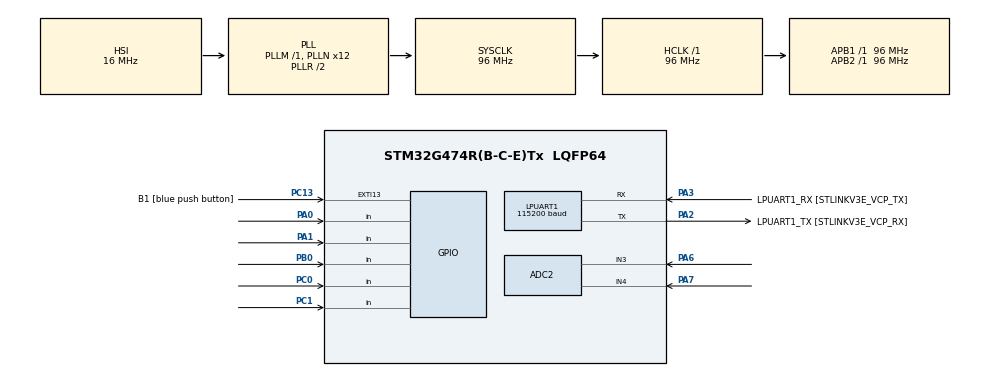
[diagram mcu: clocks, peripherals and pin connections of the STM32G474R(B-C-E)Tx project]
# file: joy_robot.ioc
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ADC2.Channel-3\#ChannelRegularConversion=ADC_CHANNEL_3
ADC2.Channel-4\#ChannelRegularConversion=ADC_CHANNEL_4
ADC2.ContinuousConvMode=ENABLE
ADC2.DMAContinuousRequests=ENABLE
ADC2.NbrOfConversion=2
ADC2.NbrOfConversionFlag=1
ADC2.OffsetNumber-3\#ChannelRegularConversion=ADC_OFFSET_NONE
ADC2.OffsetNumber-4\#ChannelRegularConversion=ADC_OFFSET_NONE
ADC2.Rank-3\#ChannelRegularConversion=1
ADC2.Rank-4\#ChannelRegularConversion=2
ADC2.SamplingTime-3\#ChannelRegularConversion=ADC_SAMPLETIME_2CYCLES_5
ADC2.SamplingTime-4\#ChannelRegularConversion=ADC_SAMPLETIME_2CYCLES_5
Dma.ADC2.2.Direction=DMA_PERIPH_TO_MEMORY
Dma.ADC2.2.EventEnable=DISABLE
Dma.ADC2.2.Instance=DMA1_Channel3
Dma.ADC2.2.MemDataAlignment=DMA_MDATAALIGN_HALFWORD
Dma.ADC2.2.MemInc=DMA_MINC_ENABLE
Dma.ADC2.2.Mode=DMA_CIRCULAR
Dma.ADC2.2.PeriphDataAlignment=DMA_PDATAALIGN_HALFWORD
Dma.ADC2.2.PeriphInc=DMA_PINC_DISABLE
Dma.ADC2.2.Polarity=HAL_DMAMUX_REQ_GEN_RISING
Dma.ADC2.2.Priority=DMA_PRIORITY_LOW
Dma.ADC2.2.RequestNumber=1
Dma.ADC2.2.SignalID=NONE
Dma.ADC2.2.SyncEnable=DISABLE
Dma.ADC2.2.SyncPolarity=HAL_DMAMUX_SYNC_NO_EVENT
Dma.ADC2.2.SyncRequestNumber=1
Dma.ADC2.2.SyncSignalID=NONE
Dma.LPUART1_RX.0.Direction=DMA_PERIPH_TO_MEMORY
Dma.LPUART1_RX.0.EventEnable=DISABLE
Dma.LPUART1_RX.0.Instance=DMA1_Channel1
Dma.LPUART1_RX.0.MemDataAlignment=DMA_MDATAALIGN_BYTE
Dma.LPUART1_RX.0.MemInc=DMA_MINC_ENABLE
Dma.LPUART1_RX.0.Mode=DMA_CIRCULAR
Dma.LPUART1_RX.0.PeriphDataAlignment=DMA_PDATAALIGN_BYTE
Dma.LPUART1_RX.0.PeriphInc=DMA_PINC_DISABLE
Dma.LPUART1_RX.0.Polarity=HAL_DMAMUX_REQ_GEN_RISING
Dma.LPUART1_RX.0.Priority=DMA_PRIORITY_VERY_HIGH
Dma.LPUART1_RX.0.RequestNumber=1
Dma.LPUART1_RX.0.SignalID=NONE
Dma.LPUART1_RX.0.SyncEnable=DISABLE
Dma.LPUART1_RX.0.SyncPolarity=HAL_DMAMUX_SYNC_NO_EVENT
Dma.LPUART1_RX.0.SyncRequestNumber=1
Dma.LPUART1_RX.0.SyncSignalID=NONE
Dma.LPUART1_TX.1.Direction=DMA_MEMORY_TO_PERIPH
Dma.LPUART1_TX.1.EventEnable=DISABLE
Dma.LPUART1_TX.1.Instance=DMA1_Channel2
Dma.LPUART1_TX.1.MemDataAlignment=DMA_MDATAALIGN_BYTE
Dma.LPUART1_TX.1.MemInc=DMA_MINC_ENABLE
Dma.LPUART1_TX.1.Mode=DMA_NORMAL
Dma.LPUART1_TX.1.PeriphDataAlignment=DMA_PDATAALIGN_BYTE
Dma.LPUART1_TX.1.PeriphInc=DMA_PINC_DISABLE
Dma.LPUART1_TX.1.Polarity=HAL_DMAMUX_REQ_GEN_RISING
Dma.LPUART1_TX.1.Priority=DMA_PRIORITY_VERY_HIGH
Dma.LPUART1_TX.1.RequestNumber=1
Dma.LPUART1_TX.1.SignalID=NONE
Dma.LPUART1_TX.1.SyncEnable=DISABLE
Dma.LPUART1_TX.1.SyncPolarity=HAL_DMAMUX_SYNC_NO_EVENT
Dma.LPUART1_TX.1.SyncRequestNumber=1
Dma.LPUART1_TX.1.SyncSignalID=NONE
Dma.Request0=LPUART1_RX
Dma.Request1=LPUART1_TX
Dma.Request2=ADC2
FREERTOS.Tasks01=defaultTask,24,3000,StartDefaultTask,As weak,NULL,Static,defaultTaskBuffer,defaultTaskControlBlock
FREERTOS.configENABLE_FPU=1
IWDG.Reload=2499
LPUART1.BaudRate=115200
Mcu.Family=STM32G4
Mcu.Name=STM32G474R(B-C-E)Tx
Mcu.Package=LQFP64
NVIC.DMA1_Channel1_IRQn=true\:5\:0\:false\:false\:true\:true\:false\:true\:true
NVIC.DMA1_Channel2_IRQn=true\:5\:0\:false\:false\:true\:true\:false\:true\:true
NVIC.DMA1_Channel3_IRQn=true\:5\:0\:false\:false\:true\:true\:false\:true\:true
NVIC.EXTI15_10_IRQn=true\:5\:0\:false\:false\:true\:true\:true\:true\:true
NVIC.LPUART1_IRQn=true\:5\:0\:false\:false\:true\:true\:true\:true\:true
NVIC.PriorityGroup=NVIC_PRIORITYGROUP_4
NVIC.TIM1_UP_TIM16_IRQn=true\:15\:0\:false\:false\:true\:false\:false\:true\:true
NVIC.TimeBase=TIM1_UP_TIM16_IRQn
NVIC.TimeBaseIP=TIM1
PA0.Signal=GPIO_Input
PA1.Signal=GPIO_Input
PA13.GPIO_Label=T_SWDIO
PA13.Signal=SYS_JTMS-SWDIO
PA14.GPIO_Label=T_SWCLK
PA14.Signal=SYS_JTCK-SWCLK
PA2.GPIO_Label=LPUART1_TX [STLINKV3E_VCP_RX]
PA2.Mode=Asynchronous
PA2.Signal=LPUART1_TX
PA3.GPIO_Label=LPUART1_RX [STLINKV3E_VCP_TX]
PA3.Mode=Asynchronous
PA3.Signal=LPUART1_RX
PA6.Mode=IN3-Single-Ended
PA6.Signal=ADC2_IN3
PA7.Mode=IN4-Single-Ended
PA7.Signal=ADC2_IN4
PB0.Signal=GPIO_Input
PB3.GPIO_Label=T_SWO
PB3.Signal=SYS_JTDO-SWO
PC0.Signal=GPIO_Input
PC1.Signal=GPIO_Input
PC13.GPIO_Label=B1 [blue push button]
PC13.Signal=GPXTI13
PC14-OSC32_IN.GPIO_Label=RCC_OSC32_IN
PC14-OSC32_IN.Signal=RCC_OSC32_IN
PC15-OSC32_OUT.GPIO_Label=RCC_OSC32_OUT
PC15-OSC32_OUT.Signal=RCC_OSC32_OUT
PF0-OSC_IN.GPIO_Label=RCC_OSC_IN
PF0-OSC_IN.Signal=RCC_OSC_IN
PF1-OSC_OUT.GPIO_Label=RCC_OSC_OUT
PF1-OSC_OUT.Signal=RCC_OSC_OUT
ProjectManager.HeapSize=0x200
ProjectManager.StackSize=0x400
ProjectManager.TargetToolchain=STM32CubeIDE
RCC.ADC12Freq_Value=96000000
RCC.ADC345Freq_Value=96000000
RCC.AHBFreq_Value=96000000
RCC.APB1Freq_Value=96000000
RCC.APB1TimFreq_Value=96000000
RCC.APB2Freq_Value=96000000
RCC.APB2TimFreq_Value=96000000
RCC.CortexFreq_Value=96000000
RCC.EXTERNAL_CLOCK_VALUE=12288000
RCC.HCLKFreq_Value=96000000
RCC.HSE_VALUE=24000000
RCC.HSI48_VALUE=48000000
RCC.HSI_VALUE=16000000
RCC.LSE_VALUE=32768
RCC.PLLN=12
RCC.PLLQ=RCC_PLLQ_DIV4
RCC.RTCClockSelection=RCC_RTCCLKSOURCE_LSE
RCC.SYSCLKFreq_VALUE=96000000
RCC.SYSCLKSource=RCC_SYSCLKSOURCE_PLLCLK
RCC.USBFreq_Value=48000000
RCC.VCOOutputFreq_Value=192000000
VP_FREERTOS_VS_CMSIS_V2.Mode=CMSIS_V2
VP_IWDG_VS_IWDG.Mode=IWDG_Activate
VP_RNG_VS_RNG.Mode=RNG_Activate
VP_SYS_VS_DBSignals.Mode=DisableDeadBatterySignals
VP_SYS_VS_tim1.Mode=TIM1
board=NUCLEO-G474RE

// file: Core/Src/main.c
/* USER CODE BEGIN Header */
/**
  ******************************************************************************
  * @file           : main.c
  * @brief          : Main program body
  ******************************************************************************
  * @attention
  *
  * Copyright (c) 2024 STMicroelectronics.
  * All rights reserved.
  *
  * This software is licensed under terms that can be found in the LICENSE file
  * in the root directory of this software component.
  * If no LICENSE file comes with this software, it is provided AS-IS.
  *
  ******************************************************************************
  */
/* USER CODE END Header */
#include "main.h"
#include "cmsis_os.h"
#include "adc.h"
#include "dma.h"
#include "iwdg.h"
#include "usart.h"
#include "rng.h"
#include "gpio.h"

/* USER CODE BEGIN Includes */
#include <rcl/rcl.h>
#include <rcl/error_handling.h>
#include <rclc/rclc.h>
#include <rcl/init_options.h>
#include <rclc/executor.h>
#include <uxr/client/transport.h>
#include <rmw_microxrcedds_c/config.h>
#include <rmw_microros/rmw_microros.h>
#include <std_msgs/msg/int32.h>
#include <std_srvs/srv/set_bool.h>
#include <geometry_msgs/msg/point.h>
#include <geometry_msgs/msg/twist.h>

/* USER CODE END Includes */

/* USER CODE BEGIN PV */
rclc_support_t support;
rcl_allocator_t allocator;
rcl_node_t node;
rcl_init_options_t init_options;
rcl_ret_t rc;
rcl_timer_t timer;
rclc_executor_t executor;
rcl_publisher_t robot1_publisher;
rcl_publisher_t robot2_publisher;
rcl_publisher_t robot3_publisher;
rcl_publisher_t robot4_publisher;
//rcl_subscription_t subscriber;

geometry_msgs__msg__Point cmd;
geometry_msgs__msg__Twist robot1_cmd_vel;
geometry_msgs__msg__Twist robot2_cmd_vel;
geometry_msgs__msg__Twist robot3_cmd_vel;
geometry_msgs__msg__Twist robot4_cmd_vel;

uint16_t ADC_RawRead[300];
int x = 0;
int y = 0;
int d8 = 0;
int a = 0;
int b = 0;
int c = 0;
int d = 0;
GPIO_PinState prev_button = GPIO_PIN_RESET;
int toggle_a = 0, toggle_b = 0, toggle_c = 0, toggle_d = 0, toggle_d8 = 0;

/* USER CODE END PV */

void SystemClock_Config(void);
void MX_FREERTOS_Init(void);
/* USER CODE BEGIN PFP */
bool cubemx_transport_open(struct uxrCustomTransport * transport);
bool cubemx_transport_close(struct uxrCustomTransport * transport);
size_t cubemx_transport_write(struct uxrCustomTransport* transport, const uint8_t * buf, size_t len, uint8_t * err);
size_t cubemx_transport_read(struct uxrCustomTransport* transport, uint8_t* buf, size_t len, int timeout, uint8_t* err);

void * microros_allocate(size_t size, void * state);
void microros_deallocate(void * pointer, void * state);
void * microros_reallocate(void * pointer, size_t size, void * state);
void * microros_zero_allocate(size_t number_of_elements, size_t size_of_element, void * state);
/* USER CODE END PFP */

/* USER CODE BEGIN 0 */
void timer_callback(rcl_timer_t * timer, int64_t last_call_time)
{
	if (timer != NULL)
	{
        int a_pressed = (HAL_GPIO_ReadPin(GPIOA, GPIO_PIN_1) == GPIO_PIN_RESET);
        int b_pressed = (HAL_GPIO_ReadPin(GPIOB, GPIO_PIN_0) == GPIO_PIN_RESET);
        int c_pressed = (HAL_GPIO_ReadPin(GPIOC, GPIO_PIN_1) == GPIO_PIN_RESET);
        int d_pressed = (HAL_GPIO_ReadPin(GPIOC, GPIO_PIN_0) == GPIO_PIN_RESET);

        // Toggle logic - only one button can be active at a time
        if (a_pressed && !toggle_a) {
            toggle_a = 1; toggle_b = toggle_c = toggle_d = toggle_d8 = 0;
        } else if (b_pressed && !toggle_b) {
            toggle_b = 1; toggle_a = toggle_c = toggle_d = toggle_d8 = 0;
        } else if (c_pressed && !toggle_c) {
            toggle_c = 1; toggle_a = toggle_b = toggle_d = toggle_d8 = 0;
        } else if (d_pressed && !toggle_d) {
            toggle_d = 1; toggle_a = toggle_b = toggle_c = toggle_d8 = 0;
        }

        // Set the velocity based on the active toggle
        geometry_msgs__msg__Twist* robots[4] = {&robot1_cmd_vel, &robot2_cmd_vel, &robot3_cmd_vel, &robot4_cmd_vel};

        for (int i = 0; i < 4; ++i) {
            robots[i]->linear.x = 0;
            robots[i]->angular.z = 0;
        }

        if (toggle_a) {
            robot1_cmd_vel.linear.x = cmd.y;
            robot1_cmd_vel.angular.z = cmd.x;
        } else if (toggle_b) {
            robot2_cmd_vel.linear.x = cmd.y;
            robot2_cmd_vel.angular.z = cmd.x;
        } else if (toggle_c) {
            robot3_cmd_vel.linear.x = cmd.y;
            robot3_cmd_vel.angular.z = cmd.x;
        } else if (toggle_d) {
            robot4_cmd_vel.linear.x = cmd.y;
            robot4_cmd_vel.angular.z = cmd.x;
        }
		if (d8 == 1)
		{

		}

		if (x < 1023.75){x = 0.0;}
		else if (x > 3071.25){x = 4095;}
		else {x = 2047.5;}

		if (y < 1023.75){y = 0.0;}
		else if (y > 3071.25){y = 4095;}
		else {y = 2047.5;}

		cmd.x = ((x / 2047.5) - 1.0)* -1.0;
		cmd.y = (y / 2047.5) - 1.0;

		rc = rcl_publish(&robot1_publisher, &robot1_cmd_vel, NULL);
		rc = rcl_publish(&robot2_publisher, &robot2_cmd_vel, NULL);
		rc = rcl_publish(&robot3_publisher, &robot3_cmd_vel, NULL);
		rc = rcl_publish(&robot4_publisher, &robot4_cmd_vel, NULL);
		HAL_IWDG_Refresh(&hiwdg);
		x = ADC_RawRead[0];
		y = ADC_RawRead[1];
	}
}

//void subscription_callback(const void *msgin)
//{
//	const std_msgs__msg__Int32 *sub_msg = (const std_msgs__msg__Int32*) msgin;
//	step = sub_msg->data;
//}

void save_path_client_callback(const void * save_path_resp){
    std_srvs__srv__SetBool_Response * resp = (std_srvs__srv__SetBool_Response *)save_path_resp;

    if (resp->success) {
        printf("SavePath success: %s\n", resp->message.data);
    } else {
        printf("SavePath failed: %s\n", resp->message.data);
    }
}
void ref_client_callback(const void * ref_resp){
	std_srvs__srv__SetBool_Response * resp = (std_srvs__srv__SetBool_Response *)ref_resp;

    if (resp->success) {
        printf("Change Mode success: %s\n", resp->message.data);
    } else {
        printf("Change Mode failed: %s\n", resp->message.data);
    }
}
void mode_client_callback(const void * mode_resp){
	std_srvs__srv__SetBool_Response * resp = (std_srvs__srv__SetBool_Response *)mode_resp;

    if (resp->success) {
        printf("Mode success: %s\n", resp->message.data);
    } else {
        printf("Mode failed: %s\n", resp->message.data);
    }
}

void StartDefaultTask(void *argument)
{
  /* USER CODE BEGIN 5 */

  // micro-ROS configuration

	rmw_uros_set_custom_transport(
			true,
			(void *) &hlpuart1,
			cubemx_transport_open,
			cubemx_transport_close,
			cubemx_transport_write,
			cubemx_transport_read);

	rcl_allocator_t freeRTOS_allocator = rcutils_get_zero_initialized_allocator();
	freeRTOS_allocator.allocate = microros_allocate;
	freeRTOS_allocator.deallocate = microros_deallocate;
	freeRTOS_allocator.reallocate = microros_reallocate;
	freeRTOS_allocator.zero_allocate =  microros_zero_allocate;

	if (!rcutils_set_default_allocator(&freeRTOS_allocator)) {
		printf("Error on default allocators (line %d)\n", __LINE__);
	}

	// micro-ROS app

	allocator = rcl_get_default_allocator();

	//create init_options
	init_options = rcl_get_zero_initialized_init_options();
	rc = rcl_init_options_init(&init_options, allocator);
	rc = rcl_init_options_set_domain_id(&init_options, 28);

	rclc_support_init_with_options(&support, 0, NULL, &init_options, &allocator);

	// create node
	rclc_node_init_default(&node, "joy", "", &support);

	// create timer
	rclc_timer_init_default(
			&timer,
			&support,
			RCL_MS_TO_NS(10),
			timer_callback
	);

	// create massage

	//	 create publisher
	rclc_publisher_init_default(
			&robot1_publisher,
			&node,
			ROSIDL_GET_MSG_TYPE_SUPPORT(geometry_msgs, msg, Twist) ,
			"/robot1/cmd_vel"
	);
	// publisher replace service problem
	rclc_publisher_init_default(
			&robot2_publisher,
			&node,
			ROSIDL_GET_MSG_TYPE_SUPPORT(geometry_msgs, msg, Twist) ,
			"/robot2/cmd_vel"
	);
	rclc_publisher_init_default(
			&robot3_publisher,
			&node,
			ROSIDL_GET_MSG_TYPE_SUPPORT(geometry_msgs, msg, Twist) ,
			"/robot3/cmd_vel"
	);
	rclc_publisher_init_default(
			&robot4_publisher,
			&node,
			ROSIDL_GET_MSG_TYPE_SUPPORT(geometry_msgs, msg, Twist) ,
			"/robot4/cmd_vel"
	);

//	// create subscription
//	rclc_subscription_init_default(
//			&subscriber,
//			&node,
//			ROSIDL_GET_MSG_TYPE_SUPPORT(std_msgs, msg, Int32),
//			"cubemx_subscriber"
//	);

	// create client for SavePath service
//	rclc_client_init_default(
//	    &save_path_client,
//	    &node,
//	    ROSIDL_GET_SRV_TYPE_SUPPORT(std_srvs, srv, SetBool),
//	    "/save_path"
//	);
//
//	// create client for Ref service
//	rclc_client_init_default(
//	    &ref_client,
//	    &node,
//	    ROSIDL_GET_SRV_TYPE_SUPPORT(std_srvs, srv, SetBool),
//	    "/ref"
//	);
//
//	// create client for Mode service
//	rclc_client_init_default(
//		&mode_client,
//		&node,
//		ROSIDL_GET_SRV_TYPE_SUPPORT(std_srvs, srv, SetBool),
//		"/mode"
//	);

	// create executor
	executor = rclc_executor_get_zero_initialized_executor();
	rclc_executor_init(&executor, &support.context, 4, &allocator);
	rclc_executor_add_timer(&executor, &timer);
//	rclc_executor_add_client(&executor, &save_path_client, &save_path_resp, save_path_client_callback);
//	rclc_executor_add_client(&executor, &ref_client, &ref_resp, ref_client_callback);
//	rclc_executor_add_client(&executor, &mode_client, &mode_resp, mode_client_callback);
//	rclc_executor_spin(&executor);

	for(;;)
	{
		osDelay(10);
	    rclc_executor_spin_some(&executor, RCL_MS_TO_NS(100));
	}
  /* USER CODE END 5 */
}
/* USER CODE END 0 */

int main(void)
{

  /* MCU Configuration--------------------------------------------------------*/

  /* Reset of all peripherals, Initializes the Flash interface and the Systick. */
  HAL_Init();

  /* Configure the system clock */
  SystemClock_Config();

  /* Initialize all configured peripherals */
  MX_GPIO_Init();
  MX_DMA_Init();
  MX_LPUART1_UART_Init();
  MX_RNG_Init();
  MX_IWDG_Init();
  MX_ADC2_Init();
  /* USER CODE BEGIN 2 */
  HAL_ADCEx_Calibration_Start(&hadc2, ADC_SINGLE_ENDED);
  HAL_ADC_Start_DMA(&hadc2, ADC_RawRead, 300);
  /* USER CODE END 2 */

  /* Init scheduler */
  osKernelInitialize();

  /* Call init function for freertos objects (in cmsis_os2.c) */
  MX_FREERTOS_Init();

  /* Start scheduler */
  osKernelStart();

  /* We should never get here as control is now taken by the scheduler */

  /* Infinite loop */
  while (1)
  {

  }
}

void SystemClock_Config(void)
{
  RCC_OscInitTypeDef RCC_OscInitStruct = {0};
  RCC_ClkInitTypeDef RCC_ClkInitStruct = {0};

  /** Configure the main internal regulator output voltage
  */
  HAL_PWREx_ControlVoltageScaling(PWR_REGULATOR_VOLTAGE_SCALE1);

  /** Initializes the RCC Oscillators according to the specified parameters
  * in the RCC_OscInitTypeDef structure.
  */
  RCC_OscInitStruct.OscillatorType = RCC_OSCILLATORTYPE_HSI|RCC_OSCILLATORTYPE_LSI;
  RCC_OscInitStruct.HSIState = RCC_HSI_ON;
  RCC_OscInitStruct.HSICalibrationValue = RCC_HSICALIBRATION_DEFAULT;
  RCC_OscInitStruct.LSIState = RCC_LSI_ON;
  RCC_OscInitStruct.PLL.PLLState = RCC_PLL_ON;
  RCC_OscInitStruct.PLL.PLLSource = RCC_PLLSOURCE_HSI;
  RCC_OscInitStruct.PLL.PLLM = RCC_PLLM_DIV1;
  RCC_OscInitStruct.PLL.PLLN = 12;
  RCC_OscInitStruct.PLL.PLLP = RCC_PLLP_DIV2;
  RCC_OscInitStruct.PLL.PLLQ = RCC_PLLQ_DIV4;
  RCC_OscInitStruct.PLL.PLLR = RCC_PLLR_DIV2;
  if (HAL_RCC_OscConfig(&RCC_OscInitStruct) != HAL_OK)
  {
    Error_Handler();
  }

  /** Initializes the CPU, AHB and APB buses clocks
  */
  RCC_ClkInitStruct.ClockType = RCC_CLOCKTYPE_HCLK|RCC_CLOCKTYPE_SYSCLK
                              |RCC_CLOCKTYPE_PCLK1|RCC_CLOCKTYPE_PCLK2;
  RCC_ClkInitStruct.SYSCLKSource = RCC_SYSCLKSOURCE_PLLCLK;
  RCC_ClkInitStruct.AHBCLKDivider = RCC_SYSCLK_DIV1;
  RCC_ClkInitStruct.APB1CLKDivider = RCC_HCLK_DIV1;
  RCC_ClkInitStruct.APB2CLKDivider = RCC_HCLK_DIV1;

  if (HAL_RCC_ClockConfig(&RCC_ClkInitStruct, FLASH_LATENCY_3) != HAL_OK)
  {
    Error_Handler();
  }
}

void HAL_TIM_PeriodElapsedCallback(TIM_HandleTypeDef *htim)
{
  if (htim->Instance == TIM1) {
    HAL_IncTick();
  }
}

void Error_Handler(void)
{
  __disable_irq();
  while (1)
  {
  }
}

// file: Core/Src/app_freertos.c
/* USER CODE BEGIN Header */
/**
  ******************************************************************************
  * File Name          : app_freertos.c
  * Description        : Code for freertos applications
  ******************************************************************************
  * @attention
  *
  * Copyright (c) 2024 STMicroelectronics.
  * All rights reserved.
  *
  * This software is licensed under terms that can be found in the LICENSE file
  * in the root directory of this software component.
  * If no LICENSE file comes with this software, it is provided AS-IS.
  *
  ******************************************************************************
  */
/* USER CODE END Header */

#include "FreeRTOS.h"
#include "task.h"
#include "main.h"
#include "cmsis_os.h"

typedef StaticTask_t osStaticThreadDef_t;

/* Definitions for defaultTask */
osThreadId_t defaultTaskHandle;
uint32_t defaultTaskBuffer[ 3000 ];
osStaticThreadDef_t defaultTaskControlBlock;
const osThreadAttr_t defaultTask_attributes = {
  .name = "defaultTask",
  .stack_mem = &defaultTaskBuffer[0],
  .stack_size = sizeof(defaultTaskBuffer),
  .cb_mem = &defaultTaskControlBlock,
  .cb_size = sizeof(defaultTaskControlBlock),
  .priority = (osPriority_t) osPriorityNormal,
};

void StartDefaultTask(void *argument);

void MX_FREERTOS_Init(void); /* (MISRA C 2004 rule 8.1) */

void MX_FREERTOS_Init(void) {

  /* Create the thread(s) */
  /* creation of defaultTask */
  defaultTaskHandle = osThreadNew(StartDefaultTask, NULL, &defaultTask_attributes);

}

__weak void StartDefaultTask(void *argument)
{
  for(;;)
  {
    osDelay(1);
  }
}
